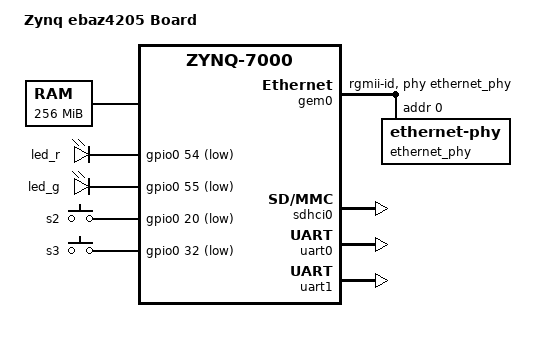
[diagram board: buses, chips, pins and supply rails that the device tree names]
// SPDX-License-Identifier: GPL-2.0
/*
 *  Copyright (C) 2015 Andrea Merello <adnrea.merello@gmail.com>
 *  Copyright (C) 2017 Alexander Graf <agraf@suse.de>
 *
 *  Based on zynq-zed.dts which is:
 *  Copyright (C) 2011 - 2014 Xilinx
 *  Copyright (C) 2012 National Instruments Corp.
 *
 */

/dts-v1/;
/include/ "zynq-7000.dtsi"

/ {
	model = "Zynq ebaz4205 Board";
	compatible = "unknown,zynq-ebaz4205", "xlnx,zynq-7000";

	aliases {
		ethernet0 = &gem0;
		serial0 = &uart1;
		serial1 = &uart0;
		mmc0 = &sdhci0;
	};

	memory@0 {
		device_type = "memory";
		reg = <0x0 0x10000000>;
	};

	chosen {
		stdout-path = "serial0:115200n8";
	};

	gpio-leds {
		compatible = "gpio-leds";
		
		led_r {
			label = "led_r";
			gpios = <&gpio0 54 1>;
			linux,default-trigger = "heartbeat";
		};

		led_g {
			label = "led_g";
			gpios = <&gpio0 55 1>;
			default-state = "off";
		};
	};

	gpio-keys {
		compatible = "gpio-keys";
		autorepeat;

		s2 {
			label = "s2";
			gpios = <&gpio0 20 1>;
			linux,code = <102>;
			wakeup-source;
			autorepeat;
		};

		s3 {
			label = "s3";
			gpios = <&gpio0 32 1>;
			linux,code = <116>;
			wakeup-source;
			autorepeat;
		};
	};
};

&clkc {
	ps-clk-frequency = <33333333>;
};

&gem0 {
	status = "okay";
	phy-mode = "rgmii-id";
	phy-handle = <&ethernet_phy>;

	ethernet_phy: ethernet-phy@0 {
		reg = <0x0>;
	};
};

&sdhci0 {
	status = "okay";
};

&uart0 {
	status = "okay";
};

&uart1 {
	status = "okay";
};
